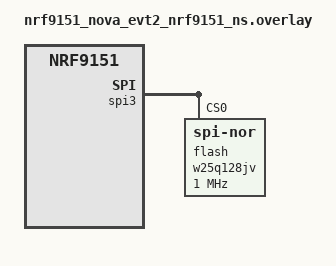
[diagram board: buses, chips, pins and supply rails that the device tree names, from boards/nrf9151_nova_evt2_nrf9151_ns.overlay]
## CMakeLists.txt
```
#
# Minimal isolation test for EVT2 9151 flash.
# Strips the board config down to ONLY SPI3 + the flash chip — no
# uart, no PMIC, no Wi-Fi pinctrl, no LPUART, nothing else. If THIS
# app reads the flash correctly, the EVT2 hardware is fine and our
# full bring-up firmware was causing the SPI3 wedge somehow. If it
# still fails, the wedge is genuinely about EVT2 hardware + the
# dual-master bus contention we already reproduced on stock DKs.
#
# SPDX-License-Identifier: Apache-2.0

cmake_minimum_required(VERSION 3.20.0)
find_package(Zephyr REQUIRED HINTS $ENV{ZEPHYR_BASE})
project(flash_test_evt2_minimal)

target_sources(app PRIVATE src/main.c)
```

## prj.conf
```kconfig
# Absolutely the minimum needed to do SPI3 on EVT2.
# Deliberately NO modem, NO networking, NO bluetooth, NO PMIC driver,
# NO sw-lpuart. Anything that touches a peripheral other than SPI3 is
# excluded.

CONFIG_LOG=y
CONFIG_LOG_BUFFER_SIZE=8192
CONFIG_LOG_BACKEND_RTT=y
CONFIG_LOG_BACKEND_UART=n
CONFIG_USE_SEGGER_RTT=y
CONFIG_RTT_CONSOLE=y
CONFIG_UART_CONSOLE=n
CONFIG_CONSOLE=y

CONFIG_SPI=y
CONFIG_GPIO=y

CONFIG_MAIN_STACK_SIZE=2048
```

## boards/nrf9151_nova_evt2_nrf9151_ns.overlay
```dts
/*
 * Strip the EVT2 9151 board config down to ONLY what's needed to talk
 * to the flash. Disable every other peripheral the board file enables,
 * so this test app's runtime touches the absolute minimum of EVT2 HW.
 *
 * Why: we want to know whether EVT2's flash failure is a hardware
 * problem with our board (in which case bare-minimum config still
 * fails) or a firmware-side issue from how our full bring-up config
 * interacts with the SPI3 peripheral (in which case stripping
 * everything else fixes it).
 *
 * Keep: spi3 (flash), gpio0 (CS via cs-gpios)
 * Disable: uart0 (sw-lpuart), i2c2 (PMIC), spi1 (nRF7000), pwm,
 *          everything else
 *
 * NOTE: this overlay only disables peripherals at the DT level. The
 * full effect depends on the corresponding Kconfig — most peripherals
 * also need CONFIG_<SUBSYSTEM>=y to be compiled in. prj.conf already
 * leaves SERIAL/I2C/BT/etc. unset, so most of these never link in
 * anyway. We disable them in DT too as a belt-and-braces guarantee
 * that no driver auto-initialises them at boot.
 */

/* Inter-MCU link — disable so it never claims uart0 or REQ/RDY pins. */
&uart0 {
	status = "disabled";
};
&lpuart {
	status = "disabled";
};

/* PMIC + i2c2 — we don't talk to the nPM1300 in this test. */
&i2c2 {
	status = "disabled";
};

/* nRF7000 Wi-Fi on spi1 — completely off. */
&spi1 {
	status = "disabled";
};
&nrf70 {
	status = "disabled";
};

/* Keep spi3 enabled with its existing pinctrl + cs-gpios — that's the
 * one peripheral we DO want. (Already enabled in the board's
 * common.dtsi; we just need to add the flash device node since the
 * board file declares the bus but no children.) */
&spi3 {
	status = "okay";
	flash: w25q128jv@0 {
		compatible = "jedec,spi-nor";
		reg = <0>;
		spi-max-frequency = <1000000>;
		jedec-id = [ef 40 18];
		size = <134217728>; /* 128 Mbit = 16 MB */
		has-dpd;
		t-enter-dpd = <3000>;
		t-exit-dpd = <40000>;
		status = "okay";
	};
};

/* Disable all PWM instances (board file doesn't enable them, but if
 * any default Zephyr behaviour kicks them, this kills it). */
&pwm0 { status = "disabled"; };
&pwm1 { status = "disabled"; };
&pwm2 { status = "disabled"; };
&pwm3 { status = "disabled"; };
```

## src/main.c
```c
/*
 * EVT2 9151 minimal flash test — ONLY does SPI3 JEDEC reads.
 *
 * Companion to flash_test_evt2 but stripped of everything that
 * touches GPIO before SPI init. Specifically NO:
 *   - GPIO pin-health probe (was reconfiguring P0.12-15 as inputs
 *     before SPI3 was used; suspected pin-hijack confound)
 *   - Bit-bang preamble (same hijack risk)
 *   - SPIM3 register probe (irrelevant for the production fix)
 *   - Anything that touches any peripheral other than SPI3
 *
 * The overlay disables every other peripheral on the board (uart0,
 * sw-lpuart, i2c2/PMIC, spi1/nRF7000, all PWMs). prj.conf turns off
 * every subsystem we don't need.
 *
 * If THIS app reads `EF 40 18 PASS` on EVT2: the EVT2 hardware is
 * fine; our full bring-up config was contributing to the wedge.
 * If THIS app reads `00 00 00`: EVT2 hardware genuinely has the
 * same failure as the DK pair reproducer, even without any other
 * peripheral activity. That'd be the cleanest possible
 * "single-master, no contention, but SPIM3 still fails on EVT2"
 * data point.
 *
 * Build:
 *   cd evt_bringup/flash_test_evt2_minimal
 *   west build -p -b nrf9151_nova_evt2/nrf9151/ns -d build \
 *       -- -DBOARD_ROOT=/home/oriol/PALROC_dev/NMS/phase2-hw/palroc_nova
 *   west flash -d build
 *
 * For meaningful results, the L15 must NOT be running anything that
 * drives SPI3 — erase it or flash it with a silent firmware before
 * running this test.
 */

#include <zephyr/kernel.h>
#include <zephyr/device.h>
#include <zephyr/drivers/spi.h>
#include <zephyr/drivers/gpio.h>
#include <zephyr/logging/log.h>

LOG_MODULE_REGISTER(flash_test, LOG_LEVEL_INF);

#define FLASH_CS_PIN  12
#define SCK_PIN       13
#define MISO_PIN      14
#define MOSI_PIN      15

#define SPI_OP (SPI_OP_MODE_MASTER | SPI_TRANSFER_MSB | SPI_WORD_SET(8))

static const struct device *const spi = DEVICE_DT_GET(DT_NODELABEL(spi3));

static struct spi_config cfg = {
	.frequency = 1000000,
	.operation = SPI_OP,
	.cs = {
		.gpio = {
			.port = DEVICE_DT_GET(DT_NODELABEL(gpio0)),
			.pin = FLASH_CS_PIN,
			.dt_flags = GPIO_ACTIVE_LOW,
		},
		.delay = 2,
	},
};

#define CMD_JEDEC 0x9F

/* Parametrised bit-bang. SPI mode 0, MSB-first.
 *
 * Approximate bit-rate per delay value:
 *   delay_us = 4  ->  ~80 kHz   (period ~12 µs, very safe)
 *   delay_us = 2  -> ~125 kHz   (period ~8 µs — our original)
 *   delay_us = 1  -> ~250 kHz   (period ~4 µs)
 *   delay_us = 0  -> ~500 kHz-1 MHz (raw gpio_pin_set rate, no explicit
 *                                    delay; the call itself takes ~500ns)
 *
 * Real bit-rate depends on Zephyr's gpio_pin_set call overhead too.
 * For the very fastest (0), we skip k_busy_wait entirely and let the
 * three pin_set calls themselves time the cycle. */
static uint8_t bb_xchg(const struct device *gpio0, uint8_t out, uint32_t delay_us)
{
	uint8_t in = 0;
	for (int bit = 7; bit >= 0; bit--) {
		gpio_pin_set(gpio0, MOSI_PIN, (out >> bit) & 1);
		if (delay_us) {
			k_busy_wait(delay_us);
		}
		gpio_pin_set(gpio0, SCK_PIN, 1);
		if (delay_us) {
			k_busy_wait(delay_us);
		}
		in |= (gpio_pin_get(gpio0, MISO_PIN) & 1) << bit;
		gpio_pin_set(gpio0, SCK_PIN, 0);
		if (delay_us) {
			k_busy_wait(delay_us);
		}
	}
	return in;
}

/* Run one JEDEC read at a given delay and log the result. Cycle:
 * CS low -> 4 byte exchanges -> CS high. No prints inside the bit
 * loop itself (would mess with timing); only one LOG_INF at the end. */
static void bitbang_one_speed(const struct device *gpio0, uint32_t delay_us,
			      const char *label)
{
	int64_t t_before = k_uptime_get();

	gpio_pin_set(gpio0, FLASH_CS_PIN, 0);
	k_busy_wait(5);

	uint8_t rx[4];
	rx[0] = bb_xchg(gpio0, CMD_JEDEC, delay_us);
	rx[1] = bb_xchg(gpio0, 0x00,      delay_us);
	rx[2] = bb_xchg(gpio0, 0x00,      delay_us);
	rx[3] = bb_xchg(gpio0, 0x00,      delay_us);

	gpio_pin_set(gpio0, FLASH_CS_PIN, 1);
	k_busy_wait(5);

	int64_t t_after = k_uptime_get();

	bool ok = (rx[1] == 0xEF && rx[2] == 0x40);
	const char *verdict =
		ok ? "PASS" :
		(rx[1] == 0 && rx[2] == 0 && rx[3] == 0)
			? "FAIL (no response)" :
			"(corrupt)";

	LOG_INF("BB[%s d=%uus] JEDEC %02x %02x %02x  %s (byte0=%02x  took %lldms)",
		label, delay_us, rx[1], rx[2], rx[3], verdict, rx[0],
		t_after - t_before);
}

/* Sample MISO + SCK with internal pull-up enabled to make sure the bus
 * is truly idle (no chip / wire still actively driving). With CS high,
 * the chip's DO should be in high-Z, and our pull-up should win on
 * both lines. Reads should be 1 / 1.
 *
 * If MISO reads 0 with a pull-up, something is actively pulling MISO
 * low — could mean the chip is still in a transfer state, or the L15
 * (if it's somehow present) is driving the line. */
static void bus_idle_check(const struct device *gpio0, const char *when)
{
	/* Force pins to input + pull-up for the check. */
	gpio_pin_configure(gpio0, MISO_PIN, GPIO_INPUT | GPIO_PULL_UP);
	gpio_pin_configure(gpio0, SCK_PIN,  GPIO_INPUT | GPIO_PULL_UP);
	k_msleep(2);

	int miso = gpio_pin_get(gpio0, MISO_PIN);
	int sck  = gpio_pin_get(gpio0, SCK_PIN);

	LOG_INF("BUS CHECK %s: MISO=%d SCK=%d (both should be 1 with pull-up = idle)",
		when, miso, sck);

	/* Restore SCK as output low + MISO as input (no pull) ready for
	 * the next bit-bang. */
	gpio_pin_configure(gpio0, SCK_PIN,  GPIO_OUTPUT_LOW);
	gpio_pin_configure(gpio0, MISO_PIN, GPIO_INPUT);
}

/* Bit-bang JEDEC sweep — FAST first, then progressively slower.
 *
 * Between every test we:
 *   1. wait 2 seconds (so any chip-side state machine returns to idle)
 *   2. sample MISO + SCK with pull-up to confirm the bus is at rest
 *   3. then run the next bit-bang
 *
 * The structure exposes anything weird: if test N changes the bus's
 * idle state visible in the post-test check, we'll see it. */
static void bitbang_jedec_sweep(void)
{
	LOG_INF("--- BIT-BANG JEDEC sweep (fast first, with bus checks) ---");

	const struct device *gpio0 = DEVICE_DT_GET(DT_NODELABEL(gpio0));
	if (!device_is_ready(gpio0)) {
		LOG_ERR("gpio0 not ready");
		return;
	}

	gpio_pin_configure(gpio0, FLASH_CS_PIN, GPIO_OUTPUT_HIGH);
	gpio_pin_configure(gpio0, SCK_PIN,      GPIO_OUTPUT_LOW);
	gpio_pin_configure(gpio0, MOSI_PIN,     GPIO_OUTPUT_LOW);
	gpio_pin_configure(gpio0, MISO_PIN,     GPIO_INPUT);
	k_msleep(50);

	/* Wake the chip from any possible deep-power-down state at very
	 * slow speed first. Harmless if it's already awake. */
	gpio_pin_set(gpio0, FLASH_CS_PIN, 0);
	k_busy_wait(5);
	(void)bb_xchg(gpio0, 0xAB, 4);
	gpio_pin_set(gpio0, FLASH_CS_PIN, 1);
	k_msleep(10);

	bus_idle_check(gpio0, "at-start (pre-fast)");
	k_msleep(2000);

	bitbang_one_speed(gpio0, 0, "fast");      /* no explicit delay */
	k_msleep(2000);
	bus_idle_check(gpio0, "after-fast");

	k_msleep(2000);
	bitbang_one_speed(gpio0, 1, "medium");    /* ~250 kHz target */
	k_msleep(2000);
	bus_idle_check(gpio0, "after-medium");

	k_msleep(2000);
	bitbang_one_speed(gpio0, 2, "slow");      /* ~125 kHz target */
	k_msleep(2000);
	bus_idle_check(gpio0, "after-slow");

	k_msleep(2000);
	bitbang_one_speed(gpio0, 4, "very-slow"); /* ~80 kHz target */
	k_msleep(2000);
	bus_idle_check(gpio0, "after-very-slow");

	/* Release the pins back to high-Z input. */
	gpio_pin_configure(gpio0, FLASH_CS_PIN, GPIO_DISCONNECTED);
	gpio_pin_configure(gpio0, SCK_PIN,      GPIO_DISCONNECTED);
	gpio_pin_configure(gpio0, MOSI_PIN,     GPIO_DISCONNECTED);
	gpio_pin_configure(gpio0, MISO_PIN,     GPIO_DISCONNECTED);
	k_msleep(50);

	LOG_INF("--- end bit-bang sweep; SPI3 driver now takes pins ---");
}

int main(void)
{
	LOG_INF("==========================================");
	LOG_INF("BUILD-TAG: flash_test_evt2_minimal SWEEP-v2");
	LOG_INF("EVT2 minimal flash test — only SPI3 active");
	LOG_INF("pins: SCK=P0.13  MOSI=P0.15  MISO=P0.14  CS=P0.%d",
		FLASH_CS_PIN);
	LOG_INF("==========================================");

	/* Bit-bang sweep at multiple speeds with bus-idle checks between
	 * each, fast first. ~25 seconds total. */
	bitbang_jedec_sweep();

	LOG_INF("Settling 2 seconds before handing pins to SPI3 driver...");
	k_msleep(2000);

	if (!device_is_ready(spi)) {
		LOG_ERR("spi3 not ready");
		return -ENODEV;
	}
	k_msleep(500);

	LOG_INF("Polling SPI3 JEDEC every 5 s. Expected: ef 40 18 PASS.");

	uint32_t iter = 0;
	while (1) {
		iter++;

		uint8_t tx[4] = { CMD_JEDEC, 0x00, 0x00, 0x00 };
		uint8_t rx[4] = { 0 };
		const struct spi_buf tx_buf = { .buf = tx, .len = sizeof(tx) };
		const struct spi_buf rx_buf = { .buf = rx, .len = sizeof(rx) };
		const struct spi_buf_set txs = { .buffers = &tx_buf, .count = 1 };
		const struct spi_buf_set rxs = { .buffers = &rx_buf, .count = 1 };

		int64_t t_before = k_uptime_get();
		int ret = spi_transceive(spi, &cfg, &txs, &rxs);
		int64_t t_after  = k_uptime_get();

		if (ret) {
			LOG_ERR("iter %u: spi err %d (took %lld ms)",
				iter, ret, t_after - t_before);
		} else {
			uint8_t mfg = rx[1], type = rx[2], cap = rx[3];
			bool ok = (mfg == 0xEF && type == 0x40);
			LOG_INF("iter %u: JEDEC %02x %02x %02x  %s  (xfer=%lld ms)",
				iter, mfg, type, cap,
				ok ? "PASS" :
				(mfg == 0 && type == 0 && cap == 0)
				    ? "FAIL" :
				    "(?)",
				t_after - t_before);
		}

		k_msleep(5000);
	}

	return 0;
}
```
